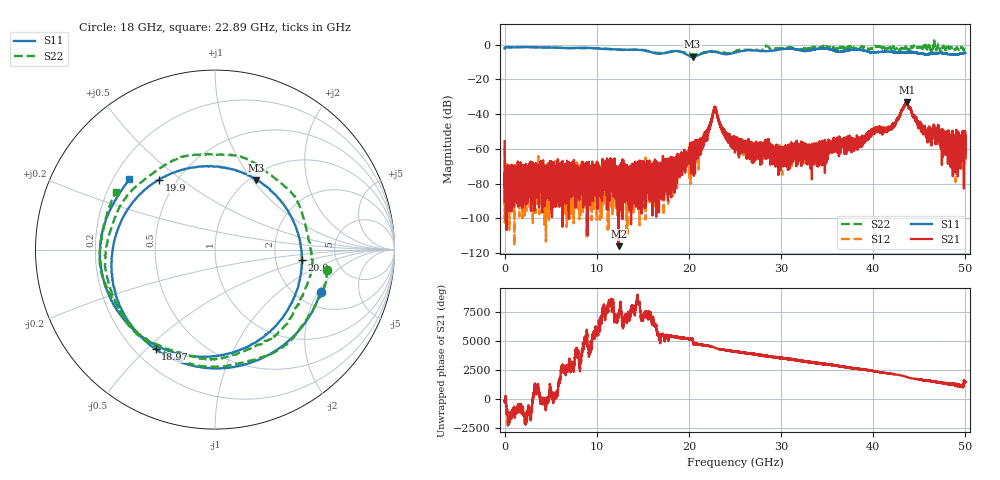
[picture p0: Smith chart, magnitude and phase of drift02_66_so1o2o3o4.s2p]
!Created with skrf (http://scikit-rf.org).
# Hz S RI R 50.0
!freq ReS11 ImS11 ReS21 ImS21 ReS12 ImS12 ReS22 ImS22
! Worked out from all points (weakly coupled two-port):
!   10001 points, 300 kHz to 50 GHz, reference 50 ohm
!   highest |S21| = -32.92 dB at 43.64 GHz (marker M1); lowest = -116.1 dB at 12.38 GHz (marker M2)
!   lowest |S11| = -6.9 dB at 20.4 GHz (marker M3), VSWR 2.64, Z = 53.8 + j52.2 ohm
!   |S11| at or under -10 dB: nowhere
!   |S22| runs from -5.7 to 2.5 dB; largest |S21 - S12| = 0.0032
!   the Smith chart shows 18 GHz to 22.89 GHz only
!   S11 on the Smith chart (normalised r, x): 18 GHz: 2.66, -2.09; 18.97 GHz: 0.28, -0.53; 19.9 GHz: 0.40, +0.42; 20.9 GHz: 2.83, -0.44; 22.89 GHz: 0.27, +0.34
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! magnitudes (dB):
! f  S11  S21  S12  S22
! 300 kHz  -2.1  -55.6  -59.0  -2.0
! 265.3 MHz  -1.4  -71.7  -72.0  -1.4
! 8.335 GHz  -1.7  -69.4  -79.3  -1.9
! 12.38 GHz  -2.7  -116.1  -83.7  -2.9
! 16.67 GHz  -5.2  -73.3  -70.6  -4.7
! 18 GHz  -4.0  -73.9  -66.3  -4.0
! 18.97 GHz  -3.8  -71.0  -63.4  -3.9
! 19.9 GHz  -6.0  -64.9  -64.2  -5.2
! 20.4 GHz  -6.9  -60.0  -62.2  -5.4
! 20.9 GHz  -6.2  -58.3  -60.9  -5.6
! 21.87 GHz  -4.2  -52.4  -50.6  -4.2
! 22.89 GHz  -4.2  -36.6  -36.7  -3.9
! 23.75 GHz  -5.3  -48.7  -50.1  -4.7
! 25 GHz  -4.5  -53.9  -55.8  -3.9
! 29.84 GHz  -2.8  -59.5  -65.5  -2.0
! 33.34 GHz  -3.0  -60.2  -59.6  -1.6
! 38.16 GHz  -2.7  -54.8  -55.8  -2.4
! 41.67 GHz  -4.0  -47.6  -47.7  -2.0
! 43.64 GHz  -4.3  -32.9  -33.4  -1.7
! 45.87 GHz  -5.4  -50.8  -52.1  -2.4
! 48.93 GHz  -5.7  -57.8  -63.4  -2.8
! 50 GHz  -4.8  -52.7  -58.3  -2.8
